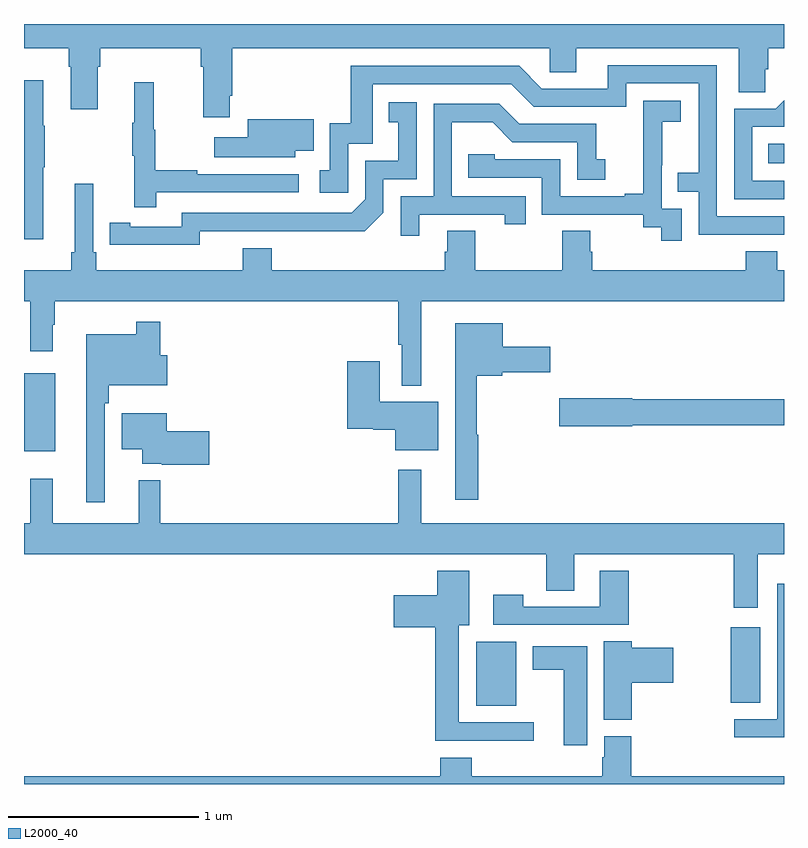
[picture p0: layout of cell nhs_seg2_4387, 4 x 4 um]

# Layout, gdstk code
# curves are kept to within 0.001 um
import gdstk
lib = gdstk.Library(unit=1e-6, precision=1e-09)
def R(c, l, rs):  # rectangles x0, y0, x1, y1
    for r in rs: c.add(gdstk.rectangle(r[:2], r[2:], *l))
def P(c, l, *ps):  # polygons
    for p in ps: c.add(gdstk.Polygon(p, *l))
L2000_40 = (2000, 40)

nhs_seg2_4387 = lib.new_cell('nhs_seg2_4387')
R(nhs_seg2_4387, L2000_40, [(351.38,608.213,351.592,608.548), (352.72,608.227,352.876,608.626), (349,609.551,349.165,609.961), (352.918,611.066,353,611.17)])
P(nhs_seg2_4387, L2000_40, [(350.083,611.422),(350.096,611.422),(350.096,611.672),(351.768,611.672),(351.768,611.545),(351.907,611.545),(351.907,611.672),(352.763,611.672),(352.763,611.44),(352.902,611.44),(352.902,611.563),(352.916,611.563),(352.916,611.672),(353,611.672),(353,611.8),(349,611.8),(349,611.672),(349.235,611.672),(349.235,611.576),(349.247,611.576),(349.247,611.352),(349.387,611.352),(349.387,611.576),(349.4,611.576),(349.4,611.672),(349.931,611.672),(349.931,611.576),(349.943,611.576),(349.943,611.31),(350.083,611.31)],
  [(353,610.788),(352.647,610.788),(352.647,611.583),(352.073,611.583),(352.073,611.46),(351.726,611.46),(351.606,611.58),(350.719,611.58),(350.719,611.278),(350.61,611.278),(350.61,611.031),(350.556,611.031),(350.556,610.911),(350.706,610.911),(350.706,611.169),(350.835,611.169),(350.835,611.484),(351.564,611.484),(351.684,611.364),(352.17,611.364),(352.17,611.487),(352.551,611.487),(352.551,611.018),(352.441,611.018),(352.441,610.917),(352.551,610.917),(352.551,610.692),(353,610.692)],
  [(349.102,611.047),(349.11,611.047),(349.11,611.264),(349.102,611.264),(349.102,611.503),(349,611.503),(349,610.668),(349.102,610.668)],
  [(349.697,610.914),(350.446,610.914),(350.446,611.01),(349.913,611.01),(349.913,611.03),(349.69,611.03),(349.69,611.244),(349.682,611.244),(349.682,611.494),(349.58,611.494),(349.58,611.281),(349.569,611.281),(349.569,611.107),(349.58,611.107),(349.58,610.836),(349.697,610.836)],
  [(353,610.974),(352.833,610.974),(352.833,611.259),(353,611.259),(353,611.399),(352.956,611.355),(352.737,611.355),(352.737,610.878),(353,610.878)],
  [(352.461,610.827),(352.356,610.827),(352.356,611.057),(352.358,611.057),(352.358,611.285),(352.456,611.285),(352.456,611.395),(352.258,611.395),(352.258,611.189),(352.259,611.189),(352.259,610.906),(352.163,610.906),(352.163,610.893),(351.822,610.893),(351.822,611.088),(351.477,611.088),(351.477,611.115),(351.337,611.115),(351.337,610.992),(351.726,610.992),(351.726,610.797),(352.26,610.797),(352.26,610.729),(352.353,610.729),(352.353,610.659),(352.461,610.659)],
  [(349.926,610.71),(350.794,610.709),(350.892,610.806),(350.892,610.983),(351.066,610.983),(351.066,611.389),(350.92,611.389),(350.92,611.283),(350.969,611.283),(350.969,611.079),(350.796,611.079),(350.796,610.878),(350.724,610.806),(349.83,610.806),(349.83,610.734),(349.558,610.734),(349.558,610.754),(349.45,610.754),(349.45,610.638),(349.926,610.637)],
  [(351.079,610.797),(351.53,610.797),(351.53,610.746),(351.641,610.746),(351.641,610.893),(351.252,610.893),(351.252,611.282),(351.466,611.282),(351.57,611.178),(351.912,611.178),(351.912,610.98),(352.06,610.98),(352.06,611.089),(352.011,611.089),(352.011,611.274),(351.607,611.274),(351.502,611.379),(351.156,611.379),(351.156,610.893),(350.982,610.893),(350.982,610.686),(351.079,610.686)],
  [(350.428,611.132),(350.525,611.132),(350.525,611.298),(350.177,611.298),(350.177,611.203),(350.001,611.203),(350.001,611.099),(350.428,611.099)],
  [(351.091,610.34),(353,610.34),(353,610.504),(352.964,610.504),(352.964,610.603),(352.799,610.603),(352.799,610.504),(351.992,610.504),(351.992,610.602),(351.979,610.602),(351.979,610.712),(351.832,610.712),(351.832,610.504),(351.375,610.504),(351.375,610.712),(351.227,610.712),(351.227,610.602),(351.215,610.602),(351.215,610.504),(350.303,610.504),(350.303,610.621),(350.15,610.621),(350.15,610.504),(349.379,610.504),(349.379,610.6),(349.365,610.6),(349.365,610.96),(349.268,610.96),(349.268,610.6),(349.249,610.6),(349.249,610.504),(349,610.504),(349,610.34),(349.033,610.34),(349.033,610.077),(349.15,610.077),(349.15,610.217),(349.162,610.217),(349.162,610.34),(350.97,610.34),(350.97,610.111),(350.987,610.111),(350.987,609.896),(351.091,609.896)],
  [(349.425,609.803),(349.445,609.803),(349.445,609.899),(349.753,609.899),(349.753,610.057),(349.718,610.057),(349.718,610.234),(349.59,610.234),(349.59,610.168),(349.328,610.168),(349.328,609.282),(349.425,609.282)],
  [(351.391,609.638),(351.383,609.638),(351.383,609.95),(351.516,609.95),(351.516,609.968),(351.769,609.968),(351.769,610.102),(351.52,610.102),(351.52,610.225),(351.269,610.225),(351.269,609.297),(351.391,609.297)],
  [(351.181,609.811),(350.872,609.811),(350.872,610.024),(350.702,610.024),(350.702,609.671),(350.838,609.671),(350.838,609.664),(350.954,609.664),(350.954,609.557),(351.181,609.557)],
  [(352.2,609.688),(353,609.688),(353,609.824),(352.2,609.824),(352.2,609.83),(351.816,609.83),(351.816,609.683),(352.2,609.683)],
  [(349.975,609.656),(349.75,609.656),(349.75,609.751),(349.514,609.751),(349.514,609.563),(349.622,609.563),(349.622,609.485),(349.726,609.485),(349.726,609.48),(349.975,609.48)],
  [(352.861,609.008),(353,609.008),(353,609.172),(351.091,609.172),(351.091,609.454),(350.97,609.454),(350.97,609.172),(349.716,609.172),(349.716,609.4),(349.604,609.4),(349.604,609.172),(349.151,609.172),(349.151,609.406),(349.033,609.406),(349.033,609.172),(349,609.172),(349,609.008),(351.748,609.008),(351.748,608.818),(351.895,608.818),(351.895,609.008),(352.736,609.008),(352.736,608.727),(352.861,608.727)],
  [(351.682,608.124),(351.289,608.124),(351.289,608.636),(351.343,608.636),(351.343,608.923),(351.176,608.923),(351.176,608.794),(350.946,608.794),(350.946,608.624),(351.164,608.624),(351.164,608.027),(351.682,608.027)],
  [(352.184,608.923),(352.031,608.923),(352.031,608.733),(351.627,608.733),(351.627,608.797),(351.471,608.797),(351.471,608.637),(352.184,608.637)],
  [(353,608.854),(352.965,608.854),(352.965,608.142),(352.737,608.142),(352.737,608.045),(353,608.045)],
  [(352.199,608.333),(352.417,608.333),(352.417,608.516),(352.199,608.516),(352.199,608.552),(352.052,608.552),(352.052,608.137),(352.199,608.137)],
  [(351.964,608.524),(351.677,608.524),(351.677,608.402),(351.842,608.402),(351.842,608.004),(351.964,608.004)],
  [(353,607.84),(352.196,607.84),(352.196,608.052),(352.055,608.052),(352.055,607.941),(352.043,607.941),(352.043,607.84),(351.356,607.84),(351.356,607.939),(351.191,607.939),(351.191,607.84),(349,607.84),(349,607.8),(353,607.8)])

lib.write_gds('nhs_seg2_4387.gds')
